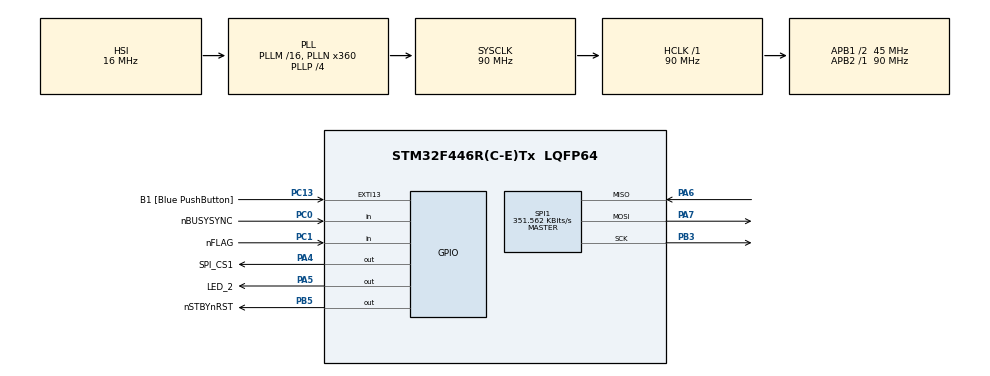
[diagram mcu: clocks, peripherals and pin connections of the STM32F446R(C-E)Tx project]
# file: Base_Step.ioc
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Mcu.Family=STM32F4
Mcu.Name=STM32F446R(C-E)Tx
Mcu.Package=LQFP64
NVIC.PriorityGroup=NVIC_PRIORITYGROUP_0
PA13.GPIO_Label=TMS
PA13.Mode=Serial_Wire
PA13.Signal=SYS_JTMS-SWDIO
PA14.GPIO_Label=TCK
PA14.Mode=Serial_Wire
PA14.Signal=SYS_JTCK-SWCLK
PA2.GPIO_Label=USART_TX
PA2.Signal=USART2_TX
PA3.GPIO_Label=USART_RX
PA3.Signal=USART2_RX
PA4.GPIO_Label=SPI_CS1
PA4.Signal=GPIO_Output
PA5.GPIO_Label=LED_2
PA5.Signal=GPIO_Output
PA6.Mode=Full_Duplex_Master
PA6.Signal=SPI1_MISO
PA7.Mode=Full_Duplex_Master
PA7.Signal=SPI1_MOSI
PB3.Mode=Full_Duplex_Master
PB3.Signal=SPI1_SCK
PB5.GPIO_Label=nSTBY\\nRST
PB5.PinState=GPIO_PIN_SET
PB5.Signal=GPIO_Output
PC0.GPIO_Label=nBUSY\\SYNC
PC0.Signal=GPIO_Input
PC1.GPIO_Label=nFLAG
PC1.Signal=GPIO_Input
PC13.GPIO_Label=B1 [Blue PushButton]
PC13.GPIO_ModeDefaultEXTI=GPIO_MODE_EVT_RISING
PC13.Signal=GPXTI13
PC14-OSC32_IN.Signal=RCC_OSC32_IN
PC15-OSC32_OUT.Signal=RCC_OSC32_OUT
PH0-OSC_IN.Signal=RCC_OSC_IN
PH1-OSC_OUT.Signal=RCC_OSC_OUT
ProjectManager.HeapSize=0x200
ProjectManager.StackSize=0x400
ProjectManager.TargetToolchain=TrueSTUDIO
RCC.AHBFreq_Value=90000000
RCC.APB1CLKDivider=RCC_HCLK_DIV2
RCC.APB1Freq_Value=45000000
RCC.APB1TimFreq_Value=90000000
RCC.APB2Freq_Value=90000000
RCC.APB2TimFreq_Value=90000000
RCC.CortexFreq_Value=90000000
RCC.FLatency-AdvancedSettings=FLASH_LATENCY_2
RCC.HCLKFreq_Value=90000000
RCC.HSE_VALUE=8000000
RCC.HSI_VALUE=16000000
RCC.LSE_VALUE=32768
RCC.PLLN=360
RCC.PLLP=RCC_PLLP_DIV4
RCC.SYSCLKFreq_VALUE=90000000
RCC.SYSCLKSource=RCC_SYSCLKSOURCE_PLLCLK
RCC.USBFreq_Value=180000000
RCC.VCOOutputFreq_Value=360000000
SPI1.BaudRatePrescaler=SPI_BAUDRATEPRESCALER_256
SPI1.CalculateBaudRate=351.562 KBits/s
SPI1.Mode=SPI_MODE_MASTER
TIM6.Period=1000
TIM6.Prescaler=10
TIM7.Period=1000
TIM7.Prescaler=2
VP_TIM6_VS_ClockSourceINT.Mode=Enable_Timer
VP_TIM7_VS_ClockSourceINT.Mode=Enable_Timer
board=NUCLEO-F446RE

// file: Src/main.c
/**
  ******************************************************************************
  * File Name          : main.c
  * Description        : Main program body
  ******************************************************************************
  *
  * COPYRIGHT(c) 2016 STMicroelectronics
  *
  * Redistribution and use in source and binary forms, with or without modification,
  * are permitted provided that the following conditions are met:
  *   1. Redistributions of source code must retain the above copyright notice,
  *      this list of conditions and the following disclaimer.
  *   2. Redistributions in binary form must reproduce the above copyright notice,
  *      this list of conditions and the following disclaimer in the documentation
  *      and/or other materials provided with the distribution.
  *   3. Neither the name of STMicroelectronics nor the names of its contributors
  *      may be used to endorse or promote products derived from this software
  *      without specific prior written permission.
  *
  * THIS SOFTWARE IS PROVIDED BY THE COPYRIGHT HOLDERS AND CONTRIBUTORS "AS IS"
  * AND ANY EXPRESS OR IMPLIED WARRANTIES, INCLUDING, BUT NOT LIMITED TO, THE
  * IMPLIED WARRANTIES OF MERCHANTABILITY AND FITNESS FOR A PARTICULAR PURPOSE ARE
  * DISCLAIMED. IN NO EVENT SHALL THE COPYRIGHT HOLDER OR CONTRIBUTORS BE LIABLE
  * FOR ANY DIRECT, INDIRECT, INCIDENTAL, SPECIAL, EXEMPLARY, OR CONSEQUENTIAL
  * DAMAGES (INCLUDING, BUT NOT LIMITED TO, PROCUREMENT OF SUBSTITUTE GOODS OR
  * SERVICES; LOSS OF USE, DATA, OR PROFITS; OR BUSINESS INTERRUPTION) HOWEVER
  * CAUSED AND ON ANY THEORY OF LIABILITY, WHETHER IN CONTRACT, STRICT LIABILITY,
  * OR TORT (INCLUDING NEGLIGENCE OR OTHERWISE) ARISING IN ANY WAY OUT OF THE USE
  * OF THIS SOFTWARE, EVEN IF ADVISED OF THE POSSIBILITY OF SUCH DAMAGE.
  *
  ******************************************************************************
  */
#include "main.h"
#include "stm32f4xx_hal.h"
#include "spi.h"
#include "tim.h"
#include "gpio.h"

/* USER CODE BEGIN PV */
/* Private variables ---------------------------------------------------------*/

/* USER CODE END PV */

void SystemClock_Config(void);
void Error_Handler(void);

/* USER CODE BEGIN PFP */
/* Private function prototypes -----------------------------------------------*/

/* USER CODE END PFP */

/* USER CODE BEGIN 0 */

uint8_t buff_m1[4];
uint8_t buff_m2[4];
uint8_t tx_buff[2];
uint8_t tx_nop[] = {0, 0};

//change speed call

void change_speed_timed(int speed_8bit, int time_ms)
{
	  //start motor script
	  //Time greater to 10ms
	  //command 1
	  buff_m1[0] = 0b01010000;
	  //data (speed)
	  buff_m1[1] = 0;
	  buff_m1[2] = speed_8bit;
	  buff_m1[3] = 0;

	  //command 2
	  buff_m2[0] = 0b01010001;
	  //data (speed)
	  buff_m2[1] = 0;
	  buff_m2[2] = speed_8bit;
	  buff_m2[3] = 0;

	  //The trasnmision od multybyte commands is complex as tima shoud be left for the logic inside
	  //the driver to decode each part of the mesage. To solve this we will do a blank write between commands
	  // but its not a good solution, a real time implementation is needed to provide robustness to the software.
	  //A well timed software loop should be enought.

	  for(int i = 0; i < 4; i++)
	  {
		  //put the data in the out buffer
		  tx_buff[0] = buff_m1[i];
		  tx_buff[1] = buff_m2[i];
		  //stat write
		  HAL_GPIO_WritePin(GPIOA, SPI_CS1_Pin, GPIO_PIN_RESET);
		  HAL_SPI_Transmit(&hspi1, tx_buff, 2, 1000);
		  HAL_GPIO_WritePin(GPIOA, SPI_CS1_Pin, GPIO_PIN_SET);
		  //wait write
		  HAL_Delay(5);
	  }

	  HAL_Delay(time_ms);
}

/* USER CODE END 0 */

int main(void)
{

  /* MCU Configuration----------------------------------------------------------*/

  /* Reset of all peripherals, Initializes the Flash interface and the Systick. */
  HAL_Init();

  /* Configure the system clock */
  SystemClock_Config();

  /* Initialize all configured peripherals */
  MX_GPIO_Init();
  MX_SPI1_Init();
  MX_TIM6_Init();
  MX_TIM7_Init();

  /* USER CODE BEGIN 2 */

  //HAL_TIM_Base_Start_IT(&htim6);

  HAL_GPIO_WritePin(GPIOA, SPI_CS1_Pin, GPIO_PIN_SET);
  HAL_GPIO_WritePin(GPIOB, nSTBY_nRST_Pin, GPIO_PIN_RESET);
  HAL_Delay(1000);
  HAL_GPIO_WritePin(GPIOB, nSTBY_nRST_Pin, GPIO_PIN_SET);

  //Reset
  //put the data in the out buffer
  tx_buff[0] = 0b11000000;
  tx_buff[1] = 0b11000000;

  //stat write
  HAL_GPIO_WritePin(GPIOA, SPI_CS1_Pin, GPIO_PIN_RESET);
  HAL_SPI_Transmit(&hspi1, tx_buff, 2, 5000);
  HAL_GPIO_WritePin(GPIOA, SPI_CS1_Pin, GPIO_PIN_SET);
  //one byte command end

  HAL_Delay(1000);

  //GetStatus
  //put the data in the out buffer
  //command 1
  buff_m1[0] = 0b1101000;
  //data (speed)
  buff_m1[1] = 0;
  buff_m1[2] = 0;
  buff_m1[3] = 0;

  //command 2
  buff_m2[0] = 0b1101000;
  //data (speed)
  buff_m2[1] = 0;
  buff_m2[2] = 0;
  buff_m2[3] = 0;

  for(int i = 0; i < 4; i++)
  {
	  //put the data in the out buffer
	  tx_buff[0] = buff_m1[i];
	  tx_buff[1] = buff_m2[i];
	  //stat write
	  HAL_GPIO_WritePin(GPIOA, SPI_CS1_Pin, GPIO_PIN_RESET);
	  HAL_SPI_Transmit(&hspi1, tx_buff, 2, 1000);
	  HAL_GPIO_WritePin(GPIOA, SPI_CS1_Pin, GPIO_PIN_SET);
	  //wait write
	  HAL_SPI_Transmit(&hspi1, tx_nop, 2, 1000);
  }

  HAL_Delay(1000);

  change_speed_timed(50, 2000);
  change_speed_timed(120, 2000);
  change_speed_timed(10, 2000);
  change_speed_timed(100, 2000);
  change_speed_timed(25, 2000);
  change_speed_timed(86, 2000);
  change_speed_timed(30, 2000);

  //REPEAT TO STOP
  //start motor script
  //command 1
  buff_m1[0] = 0b01010000;
  //data (speed)
  buff_m1[1] = 0;
  buff_m1[2] = 0;
  buff_m1[3] = 0;

  //command 2
  buff_m2[0] = 0b01010001;
  //data (speed)
  buff_m2[1] = 0;
  buff_m2[2] = 0;
  buff_m2[3] = 0;

  for(int i = 0; i < 3; i++)
  {
	  //put the data in the out buffer
	  tx_buff[0] = buff_m1[i];
	  tx_buff[1] = buff_m2[i];
	  //stat write
	  HAL_GPIO_WritePin(GPIOA, SPI_CS1_Pin, GPIO_PIN_RESET);
	  HAL_SPI_Transmit(&hspi1, tx_buff, 2, 5000);
	  HAL_GPIO_WritePin(GPIOA, SPI_CS1_Pin, GPIO_PIN_SET);
	  //wait write
	  HAL_SPI_Transmit(&hspi1, tx_nop, 2, 5000);
  }

  HAL_Delay(1000);

  //HI-Z OUT
  //put the data in the out buffer
  tx_buff[0] = 0b10100000;
  tx_buff[1] = 0b10100000;
  //stat write
  HAL_GPIO_WritePin(GPIOA, SPI_CS1_Pin, GPIO_PIN_RESET);
  HAL_SPI_Transmit(&hspi1, tx_buff, 2, 5000);
  HAL_GPIO_WritePin(GPIOA, SPI_CS1_Pin, GPIO_PIN_SET);
  //one byte command end

  /* USER CODE END 2 */

  /* Infinite loop */
  while (1)
  {

  /* USER CODE BEGIN 3 */

	  HAL_Delay(50);

	  HAL_GPIO_TogglePin(GPIOA, LED_2_Pin);

  }
  /* USER CODE END 3 */

}

/** System Clock Configuration
*/
void SystemClock_Config(void)
{

  RCC_OscInitTypeDef RCC_OscInitStruct;
  RCC_ClkInitTypeDef RCC_ClkInitStruct;

    /**Configure the main internal regulator output voltage
    */
  __HAL_RCC_PWR_CLK_ENABLE();

  __HAL_PWR_VOLTAGESCALING_CONFIG(PWR_REGULATOR_VOLTAGE_SCALE3);

    /**Initializes the CPU, AHB and APB busses clocks
    */
  RCC_OscInitStruct.OscillatorType = RCC_OSCILLATORTYPE_HSI;
  RCC_OscInitStruct.HSIState = RCC_HSI_ON;
  RCC_OscInitStruct.HSICalibrationValue = 16;
  RCC_OscInitStruct.PLL.PLLState = RCC_PLL_ON;
  RCC_OscInitStruct.PLL.PLLSource = RCC_PLLSOURCE_HSI;
  RCC_OscInitStruct.PLL.PLLM = 16;
  RCC_OscInitStruct.PLL.PLLN = 360;
  RCC_OscInitStruct.PLL.PLLP = RCC_PLLP_DIV4;
  RCC_OscInitStruct.PLL.PLLQ = 2;
  RCC_OscInitStruct.PLL.PLLR = 2;
  if (HAL_RCC_OscConfig(&RCC_OscInitStruct) != HAL_OK)
  {
    Error_Handler();
  }

    /**Initializes the CPU, AHB and APB busses clocks
    */
  RCC_ClkInitStruct.ClockType = RCC_CLOCKTYPE_HCLK|RCC_CLOCKTYPE_SYSCLK
                              |RCC_CLOCKTYPE_PCLK1|RCC_CLOCKTYPE_PCLK2;
  RCC_ClkInitStruct.SYSCLKSource = RCC_SYSCLKSOURCE_PLLCLK;
  RCC_ClkInitStruct.AHBCLKDivider = RCC_SYSCLK_DIV1;
  RCC_ClkInitStruct.APB1CLKDivider = RCC_HCLK_DIV2;
  RCC_ClkInitStruct.APB2CLKDivider = RCC_HCLK_DIV1;

  if (HAL_RCC_ClockConfig(&RCC_ClkInitStruct, FLASH_LATENCY_2) != HAL_OK)
  {
    Error_Handler();
  }

    /**Configure the Systick interrupt time
    */
  HAL_SYSTICK_Config(HAL_RCC_GetHCLKFreq()/1000);

    /**Configure the Systick
    */
  HAL_SYSTICK_CLKSourceConfig(SYSTICK_CLKSOURCE_HCLK);

  /* SysTick_IRQn interrupt configuration */
  HAL_NVIC_SetPriority(SysTick_IRQn, 0, 0);
}

/* USER CODE BEGIN 4 */

//void HAL_TIM_PeriodElapsedCallback(TIM_HandleTypeDef *htim)
//{
//
//
//
//}

/* USER CODE END 4 */

void Error_Handler(void)
{
  while(1)
  {
  }
}

/************************ (C) COPYRIGHT STMicroelectronics *****END OF FILE****/
